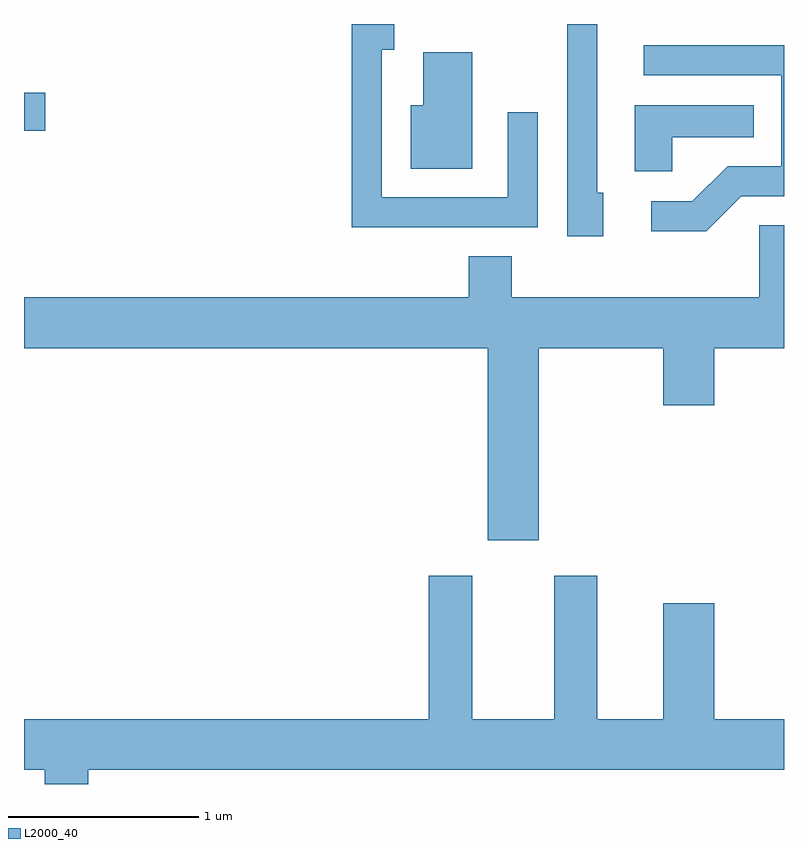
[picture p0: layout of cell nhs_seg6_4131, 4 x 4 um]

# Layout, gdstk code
import gdstk
lib = gdstk.Library(unit=1e-6, precision=1e-09)
def R(c, l, rs):  # rectangles x0, y0, x1, y1
    for r in rs: c.add(gdstk.rectangle(r[:2], r[2:], *l))
def P(c, l, *ps):  # polygons
    for p in ps: c.add(gdstk.Polygon(p, *l))
L2000_40 = (2000, 40)

nhs_seg6_4131 = lib.new_cell('nhs_seg6_4131')
R(nhs_seg6_4131, L2000_40, [(311.611,1575.601,311.724,1575.799)])
P(nhs_seg6_4131, L2000_40, [(314.314,1575.698),(314.156,1575.698),(314.156,1575.249),(313.494,1575.249),(313.494,1576.026),(313.559,1576.026),(313.559,1576.162),(313.336,1576.162),(313.336,1575.091),(314.314,1575.091)],
  [(314.659,1575.274),(314.629,1575.274),(314.629,1576.162),(314.471,1576.162),(314.471,1575.046),(314.659,1575.046)],
  [(315.387,1575.256),(315.611,1575.256),(315.611,1576.049),(314.873,1576.049),(314.873,1575.891),(315.596,1575.891),(315.596,1575.414),(315.314,1575.414),(315.129,1575.229),(314.913,1575.229),(314.913,1575.071),(315.202,1575.071)],
  [(313.969,1576.014),(313.711,1576.014),(313.711,1575.734),(313.646,1575.734),(313.646,1575.401),(313.969,1575.401)],
  [(315.024,1575.566),(315.453,1575.566),(315.453,1575.734),(314.826,1575.734),(314.826,1575.386),(315.024,1575.386)],
  [(314.319,1574.456),(314.976,1574.456),(314.976,1574.156),(315.244,1574.156),(315.244,1574.456),(315.611,1574.456),(315.611,1575.104),(315.481,1575.104),(315.481,1574.724),(314.179,1574.724),(314.179,1574.939),(313.951,1574.939),(313.951,1574.724),(311.611,1574.724),(311.611,1574.456),(314.051,1574.456),(314.051,1573.446),(314.319,1573.446)],
  [(311.949,1572.236),(315.611,1572.236),(315.611,1572.504),(315.244,1572.504),(315.244,1573.114),(314.976,1573.114),(314.976,1572.504),(314.629,1572.504),(314.629,1573.259),(314.401,1573.259),(314.401,1572.504),(313.969,1572.504),(313.969,1573.259),(313.741,1573.259),(313.741,1572.504),(311.611,1572.504),(311.611,1572.236),(311.721,1572.236),(311.721,1572.162),(311.949,1572.162)])

lib.write_gds('nhs_seg6_4131.gds')
